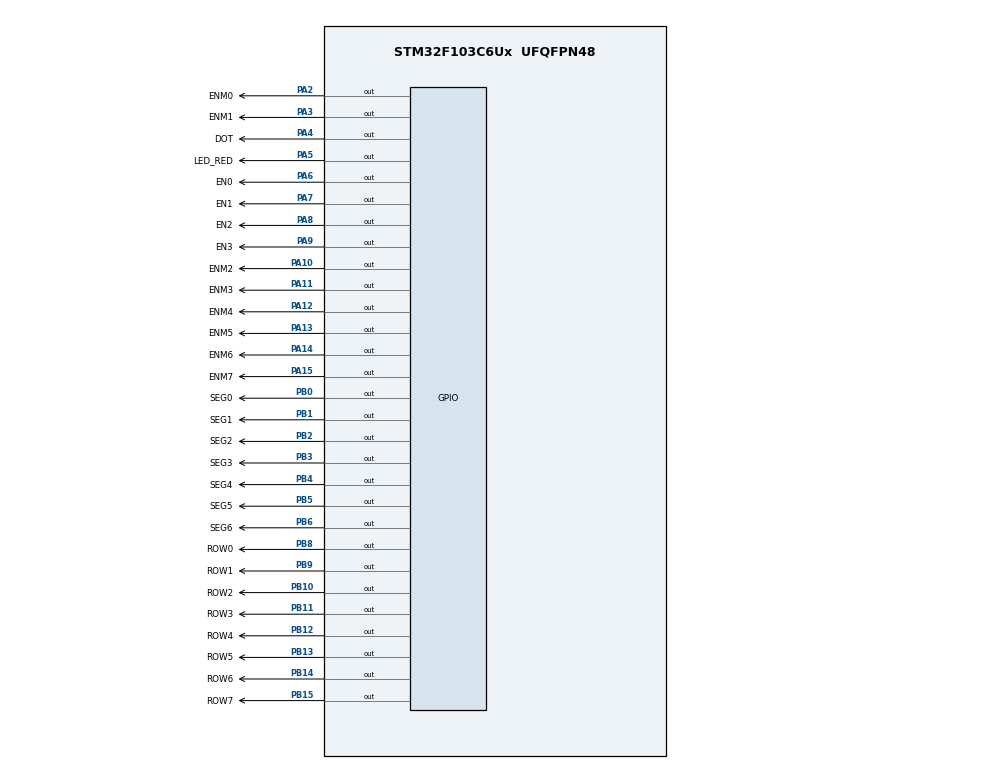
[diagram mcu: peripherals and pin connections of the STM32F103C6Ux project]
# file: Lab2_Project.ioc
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Mcu.Family=STM32F1
Mcu.Name=STM32F103C6Ux
Mcu.Package=UFQFPN48
NVIC.PriorityGroup=NVIC_PRIORITYGROUP_4
NVIC.TIM2_IRQn=true\:0\:0\:false\:false\:true\:true\:true
PA10.GPIO_Label=ENM2
PA10.Signal=GPIO_Output
PA11.GPIO_Label=ENM3
PA11.Signal=GPIO_Output
PA12.GPIO_Label=ENM4
PA12.Signal=GPIO_Output
PA13.GPIO_Label=ENM5
PA13.Signal=GPIO_Output
PA14.GPIO_Label=ENM6
PA14.Signal=GPIO_Output
PA15.GPIO_Label=ENM7
PA15.Signal=GPIO_Output
PA2.GPIO_Label=ENM0
PA2.Signal=GPIO_Output
PA3.GPIO_Label=ENM1
PA3.Signal=GPIO_Output
PA4.GPIO_Label=DOT
PA4.Signal=GPIO_Output
PA5.GPIO_Label=LED_RED
PA5.Signal=GPIO_Output
PA6.GPIO_Label=EN0
PA6.Signal=GPIO_Output
PA7.GPIO_Label=EN1
PA7.Signal=GPIO_Output
PA8.GPIO_Label=EN2
PA8.Signal=GPIO_Output
PA9.GPIO_Label=EN3
PA9.Signal=GPIO_Output
PB0.GPIO_Label=SEG0
PB0.Signal=GPIO_Output
PB1.GPIO_Label=SEG1
PB1.Signal=GPIO_Output
PB10.GPIO_Label=ROW2
PB10.Signal=GPIO_Output
PB11.GPIO_Label=ROW3
PB11.Signal=GPIO_Output
PB12.GPIO_Label=ROW4
PB12.Signal=GPIO_Output
PB13.GPIO_Label=ROW5
PB13.Signal=GPIO_Output
PB14.GPIO_Label=ROW6
PB14.Signal=GPIO_Output
PB15.GPIO_Label=ROW7
PB15.Signal=GPIO_Output
PB2.GPIO_Label=SEG2
PB2.Signal=GPIO_Output
PB3.GPIO_Label=SEG3
PB3.Signal=GPIO_Output
PB4.GPIO_Label=SEG4
PB4.Signal=GPIO_Output
PB5.GPIO_Label=SEG5
PB5.Signal=GPIO_Output
PB6.GPIO_Label=SEG6
PB6.Signal=GPIO_Output
PB8.GPIO_Label=ROW0
PB8.Signal=GPIO_Output
PB9.GPIO_Label=ROW1
PB9.Signal=GPIO_Output
ProjectManager.HeapSize=0x200
ProjectManager.StackSize=0x400
ProjectManager.TargetToolchain=STM32CubeIDE
RCC.APB1Freq_Value=8000000
RCC.APB2Freq_Value=8000000
TIM2.Period=9
TIM2.Prescaler=7999
VP_SYS_VS_ND.Mode=No_Debug
VP_TIM2_VS_ClockSourceINT.Mode=Internal
board=custom

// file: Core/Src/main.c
/* USER CODE BEGIN Header */
/**
 ******************************************************************************
 * @file           : main.c
 * @brief          : Main program body
 ******************************************************************************
 * @attention
 *
 * <h2><center>&copy; Copyright (c) 2025 STMicroelectronics.
 * All rights reserved.</center></h2>
 *
 * This software component is licensed by ST under BSD 3-Clause license,
 * the "License"; You may not use this file except in compliance with the
 * License. You may obtain a copy of the License at:
 *                        opensource.org/licenses/BSD-3-Clause
 *
 ******************************************************************************
 */
/* USER CODE END Header */
#include "main.h"

/* USER CODE BEGIN Includes */
#include "software_timer.h"
#include "stm32f103c6.h"
/* USER CODE END Includes */

TIM_HandleTypeDef htim2;

void SystemClock_Config(void);
static void MX_GPIO_Init(void);
static void MX_TIM2_Init(void);

int main(void) {

	/* MCU Configuration--------------------------------------------------------*/

	/* Reset of all peripherals, Initializes the Flash interface and the Systick. */
	HAL_Init();

	/* Configure the system clock */
	SystemClock_Config();

	/* Initialize all configured peripherals */
	MX_GPIO_Init();
	MX_TIM2_Init();
	/* USER CODE BEGIN 2 */
	HAL_TIM_Base_Start_IT(&htim2);
	/* USER CODE END 2 */

	/* Infinite loop */
	/* USER CODE BEGIN WHILE */

	// ---- LED SETUP ----
	int counterLED = 100;
	setTimerLED(counterLED);

	// ---- TIMER SETUP ----
	int dur1 = 25;
	int dur2 = 10;
	int dur3 = 80;
	setTimer1(dur1);
	setTimer2(dur2);
	setTimer3(dur3);
	// ---- Clock Setup ----
	setClock(15, 8, 50);

	// ---- Setup Matrix ----
	setMatrixBuffer_A();
	while (1) {
		// ---- Checking flag for LED, DOT, UPDATE TIME ----
		if (timerLED_flag == 1) {
			setTimerLED(counterLED);
			blinkLED();
			HAL_GPIO_TogglePin(GPIOA, DOT_Pin);
			updateTime();
		}
		// ---- Flag for Clock Display ----
		if (timer1_flag == 1) {
			setTimer1(dur1);
			displayClock();

		}
		if (timer2_flag == 1) {
			setTimer2(dur2);
			updateLEDMatrix(index_led_matrix++);
			if (index_led_matrix >= MAX_LED_MATRIX)
				index_led_matrix = 0;
		}
		/* USER CODE END WHILE */

	}
}

void SystemClock_Config(void) {
	RCC_OscInitTypeDef RCC_OscInitStruct = { 0 };
	RCC_ClkInitTypeDef RCC_ClkInitStruct = { 0 };

	/** Initializes the RCC Oscillators according to the specified parameters
	 * in the RCC_OscInitTypeDef structure.
	 */
	RCC_OscInitStruct.OscillatorType = RCC_OSCILLATORTYPE_HSI;
	RCC_OscInitStruct.HSIState = RCC_HSI_ON;
	RCC_OscInitStruct.HSICalibrationValue = RCC_HSICALIBRATION_DEFAULT;
	RCC_OscInitStruct.PLL.PLLState = RCC_PLL_NONE;
	if (HAL_RCC_OscConfig(&RCC_OscInitStruct) != HAL_OK) {
		Error_Handler();
	}
	/** Initializes the CPU, AHB and APB buses clocks
	 */
	RCC_ClkInitStruct.ClockType = RCC_CLOCKTYPE_HCLK | RCC_CLOCKTYPE_SYSCLK
			| RCC_CLOCKTYPE_PCLK1 | RCC_CLOCKTYPE_PCLK2;
	RCC_ClkInitStruct.SYSCLKSource = RCC_SYSCLKSOURCE_HSI;
	RCC_ClkInitStruct.AHBCLKDivider = RCC_SYSCLK_DIV1;
	RCC_ClkInitStruct.APB1CLKDivider = RCC_HCLK_DIV1;
	RCC_ClkInitStruct.APB2CLKDivider = RCC_HCLK_DIV1;

	if (HAL_RCC_ClockConfig(&RCC_ClkInitStruct, FLASH_LATENCY_0) != HAL_OK) {
		Error_Handler();
	}
}

static void MX_TIM2_Init(void) {

	TIM_ClockConfigTypeDef sClockSourceConfig = { 0 };
	TIM_MasterConfigTypeDef sMasterConfig = { 0 };

	htim2.Instance = TIM2;
	htim2.Init.Prescaler = 7999;
	htim2.Init.CounterMode = TIM_COUNTERMODE_UP;
	htim2.Init.Period = 9;
	htim2.Init.ClockDivision = TIM_CLOCKDIVISION_DIV1;
	htim2.Init.AutoReloadPreload = TIM_AUTORELOAD_PRELOAD_DISABLE;
	if (HAL_TIM_Base_Init(&htim2) != HAL_OK) {
		Error_Handler();
	}
	sClockSourceConfig.ClockSource = TIM_CLOCKSOURCE_INTERNAL;
	if (HAL_TIM_ConfigClockSource(&htim2, &sClockSourceConfig) != HAL_OK) {
		Error_Handler();
	}
	sMasterConfig.MasterOutputTrigger = TIM_TRGO_RESET;
	sMasterConfig.MasterSlaveMode = TIM_MASTERSLAVEMODE_DISABLE;
	if (HAL_TIMEx_MasterConfigSynchronization(&htim2, &sMasterConfig)
			!= HAL_OK) {
		Error_Handler();
	}

}

static void MX_GPIO_Init(void) {
	GPIO_InitTypeDef GPIO_InitStruct = { 0 };

	/* GPIO Ports Clock Enable */
	__HAL_RCC_GPIOA_CLK_ENABLE();
	__HAL_RCC_GPIOB_CLK_ENABLE();

	/*Configure GPIO pin Output Level */
	HAL_GPIO_WritePin(GPIOA,
	DOT_Pin | LED_RED_Pin | EN0_Pin | EN1_Pin | EN2_Pin | EN3_Pin,
			GPIO_PIN_RESET);
	HAL_GPIO_WritePin(GPIOA,
			ENM0_Pin | ENM1_Pin | ENM2_Pin | ENM3_Pin | ENM4_Pin | ENM5_Pin
					| ENM6_Pin | ENM7_Pin, GPIO_PIN_SET);
	/*Configure GPIO pin Output Level */
	HAL_GPIO_WritePin(GPIOB,
			SEG0_Pin | SEG1_Pin | SEG2_Pin | ROW2_Pin | ROW3_Pin | ROW4_Pin
					| ROW5_Pin | ROW6_Pin | ROW7_Pin | SEG3_Pin | SEG4_Pin
					| SEG5_Pin | SEG6_Pin | ROW0_Pin | ROW1_Pin,
			GPIO_PIN_RESET);

	/*Configure GPIO pins : ENM0_Pin ENM1_Pin DOT_Pin LED_RED_Pin
	 EN0_Pin EN1_Pin EN2_Pin EN3_Pin
	 ENM2_Pin ENM3_Pin ENM4_Pin ENM5_Pin
	 ENM6_Pin ENM7_Pin */
	GPIO_InitStruct.Pin = ENM0_Pin | ENM1_Pin | DOT_Pin | LED_RED_Pin | EN0_Pin
			| EN1_Pin | EN2_Pin | EN3_Pin | ENM2_Pin | ENM3_Pin | ENM4_Pin
			| ENM5_Pin | ENM6_Pin | ENM7_Pin;
	GPIO_InitStruct.Mode = GPIO_MODE_OUTPUT_PP;
	GPIO_InitStruct.Pull = GPIO_NOPULL;
	GPIO_InitStruct.Speed = GPIO_SPEED_FREQ_LOW;
	HAL_GPIO_Init(GPIOA, &GPIO_InitStruct);

	/*Configure GPIO pins : SEG0_Pin SEG1_Pin SEG2_Pin ROW2_Pin
	 ROW3_Pin ROW4_Pin ROW5_Pin ROW6_Pin
	 ROW7_Pin SEG3_Pin SEG4_Pin SEG5_Pin
	 SEG6_Pin ROW0_Pin ROW1_Pin */
	GPIO_InitStruct.Pin = SEG0_Pin | SEG1_Pin | SEG2_Pin | ROW2_Pin | ROW3_Pin
			| ROW4_Pin | ROW5_Pin | ROW6_Pin | ROW7_Pin | SEG3_Pin | SEG4_Pin
			| SEG5_Pin | SEG6_Pin | ROW0_Pin | ROW1_Pin;
	GPIO_InitStruct.Mode = GPIO_MODE_OUTPUT_PP;
	GPIO_InitStruct.Pull = GPIO_NOPULL;
	GPIO_InitStruct.Speed = GPIO_SPEED_FREQ_LOW;
	HAL_GPIO_Init(GPIOB, &GPIO_InitStruct);

}

/* USER CODE BEGIN 4 */
void HAL_TIM_PeriodElapsedCallback(TIM_HandleTypeDef *htim) {
	// TIMER RUN
	timerRun();
}
/* USER CODE END 4 */

void Error_Handler(void) {
	__disable_irq();
	while (1) {
	}
}

/************************ (C) COPYRIGHT STMicroelectronics *****END OF FILE****/
